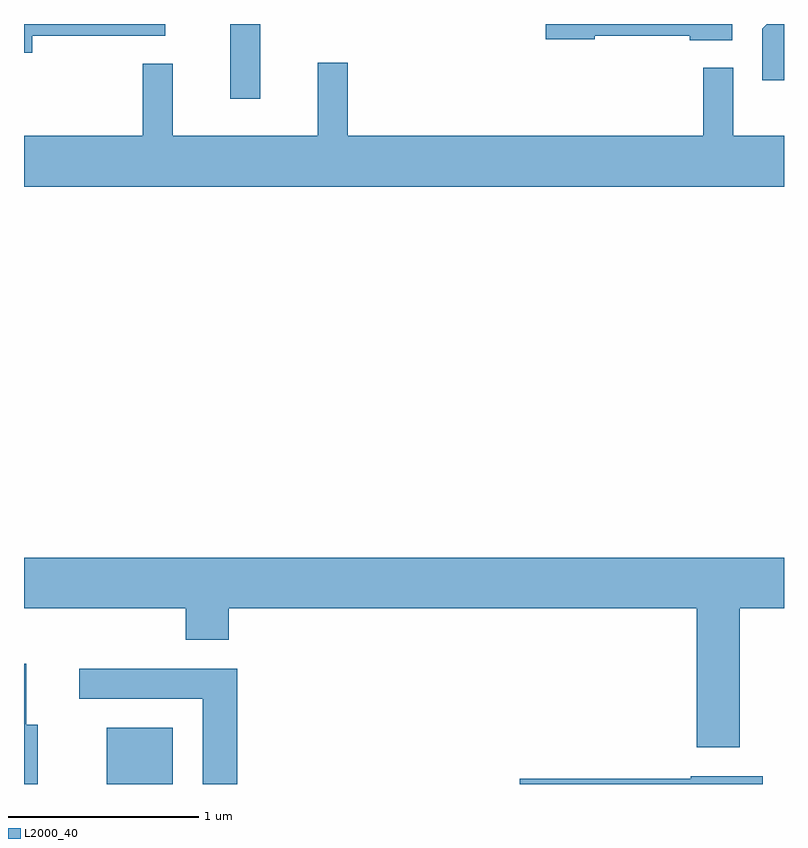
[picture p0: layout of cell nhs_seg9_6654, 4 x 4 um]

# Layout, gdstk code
import gdstk
lib = gdstk.Library(unit=1e-6, precision=1e-09)
def R(c, l, rs):  # rectangles x0, y0, x1, y1
    for r in rs: c.add(gdstk.rectangle(r[:2], r[2:], *l))
def P(c, l, *ps):  # polygons
    for p in ps: c.add(gdstk.Polygon(p, *l))
L2000_40 = (2000, 40)

nhs_seg9_6654 = lib.new_cell('nhs_seg9_6654')
R(nhs_seg9_6654, L2000_40, [(382.046,2006.432,382.394,2006.729), (382.696,2010.038,382.854,2010.432)])
P(nhs_seg9_6654, L2000_40, [(385.339,2010.432),(384.356,2010.432),(384.356,2010.351),(384.614,2010.351),(384.614,2010.371),(385.116,2010.371),(385.116,2010.346),(385.339,2010.346)],
  [(381.654,2010.371),(382.354,2010.371),(382.354,2010.432),(381.611,2010.432),(381.611,2010.281),(381.654,2010.281)],
  [(385.611,2010.432),(385.521,2010.432),(385.496,2010.407),(385.496,2010.136),(385.611,2010.136)],
  [(385.611,2009.844),(385.344,2009.844),(385.344,2010.203),(385.186,2010.203),(385.186,2009.844),(383.314,2009.844),(383.314,2010.228),(383.156,2010.228),(383.156,2009.844),(382.394,2009.844),(382.394,2010.223),(382.236,2010.223),(382.236,2009.844),(381.611,2009.844),(381.611,2009.576),(385.611,2009.576)],
  [(385.379,2007.356),(385.611,2007.356),(385.611,2007.624),(381.611,2007.624),(381.611,2007.356),(382.461,2007.356),(382.461,2007.191),(382.689,2007.191),(382.689,2007.356),(385.151,2007.356),(385.151,2006.626),(385.379,2006.626)],
  [(381.684,2006.744),(381.624,2006.744),(381.624,2007.064),(381.611,2007.064),(381.611,2006.432),(381.684,2006.432)],
  [(382.734,2007.039),(381.903,2007.039),(381.903,2006.881),(382.551,2006.881),(382.551,2006.432),(382.734,2006.432)],
  [(385.499,2006.474),(385.12,2006.474),(385.12,2006.459),(384.221,2006.459),(384.221,2006.432),(385.499,2006.432)])

lib.write_gds('nhs_seg9_6654.gds')
